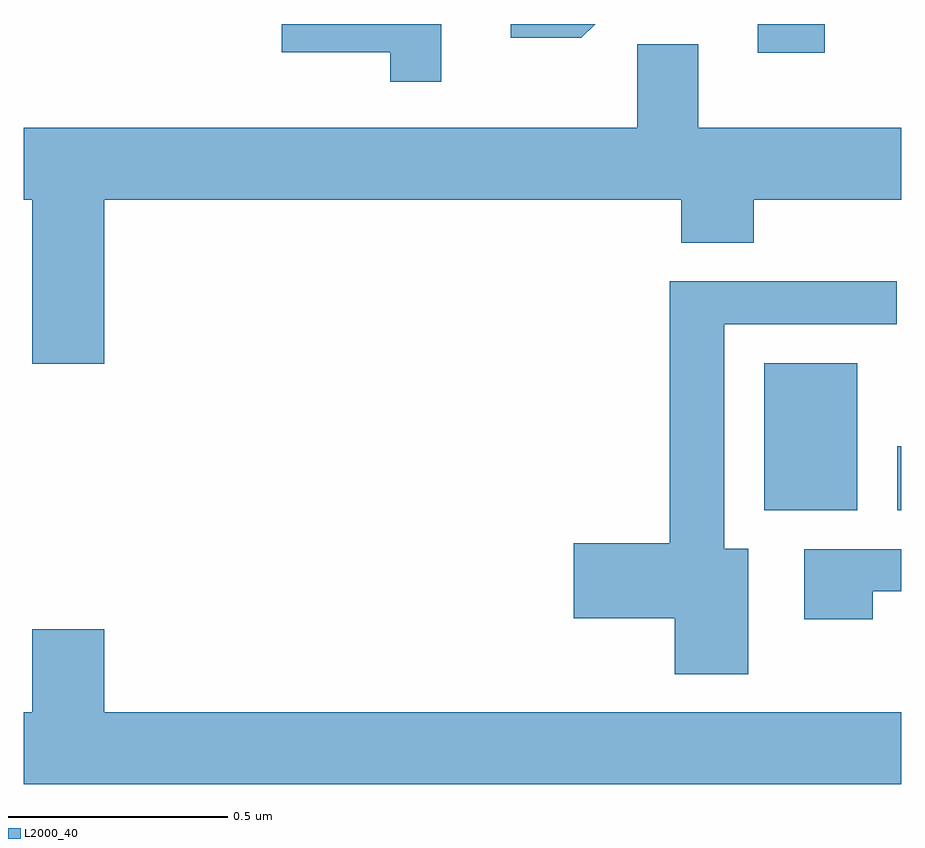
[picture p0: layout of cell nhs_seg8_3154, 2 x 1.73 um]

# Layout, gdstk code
import gdstk
lib = gdstk.Library(unit=1e-6, precision=1e-09)
def R(c, l, rs):  # rectangles x0, y0, x1, y1
    for r in rs: c.add(gdstk.rectangle(r[:2], r[2:], *l))
def P(c, l, *ps):  # polygons
    for p in ps: c.add(gdstk.Polygon(p, *l))
L2000_40 = (2000, 40)

nhs_seg8_3154 = lib.new_cell('nhs_seg8_3154')
R(nhs_seg8_3154, L2000_40, [(154.688,1115.792,154.9,1116.127), (154.991,1115.792,155,1115.938), (154.673,1116.834,154.826,1116.9)])
P(nhs_seg8_3154, L2000_40, [(153.952,1116.9),(153.588,1116.9),(153.588,1116.836),(153.835,1116.836),(153.835,1116.768),(153.952,1116.768)],
  [(154.302,1116.9),(154.11,1116.9),(154.11,1116.869),(154.271,1116.869)],
  [(154.398,1116.854),(154.398,1116.664),(153,1116.664),(153,1116.5),(153.02,1116.5),(153.02,1116.126),(153.184,1116.126),(153.184,1116.5),(154.499,1116.5),(154.499,1116.401),(154.664,1116.401),(154.664,1116.5),(155,1116.5),(155,1116.664),(154.537,1116.664),(154.537,1116.854)],
  [(154.651,1115.704),(154.597,1115.704),(154.597,1116.216),(154.99,1116.216),(154.99,1116.314),(154.472,1116.314),(154.472,1115.717),(154.254,1115.717),(154.254,1115.546),(154.484,1115.546),(154.484,1115.418),(154.651,1115.418)],
  [(154.935,1115.607),(155,1115.607),(155,1115.703),(154.779,1115.703),(154.779,1115.544),(154.935,1115.544)],
  [(155,1115.332),(153.184,1115.332),(153.184,1115.521),(153.02,1115.521),(153.02,1115.332),(153,1115.332),(153,1115.168),(155,1115.168)])

lib.write_gds('nhs_seg8_3154.gds')
